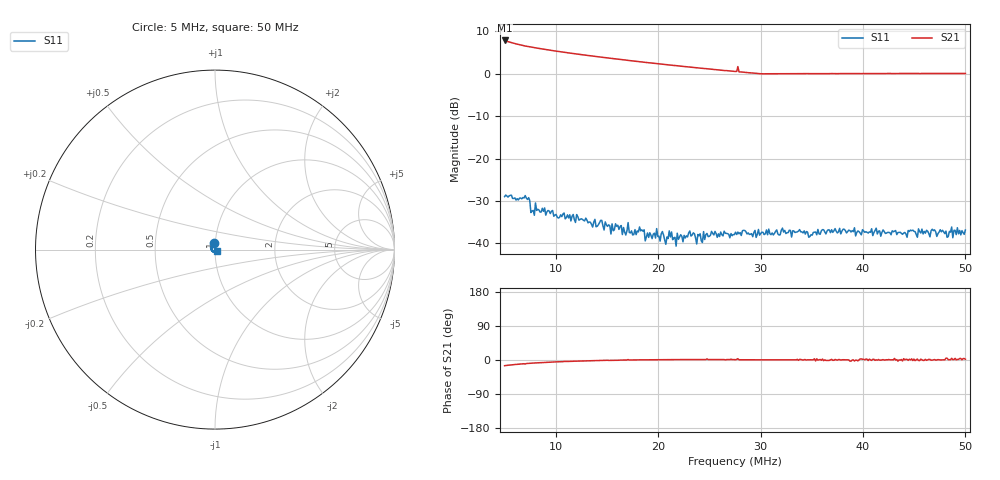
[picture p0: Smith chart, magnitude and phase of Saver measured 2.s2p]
# HZ S RI R 50
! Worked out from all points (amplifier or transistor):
!   404 points, 5 MHz to 50 MHz, reference 50 ohm
!   highest |S21| = 7.9 dB at 5 MHz (marker M1)
!   |S21| within 3 dB of that: start of sweep to 11.42 MHz
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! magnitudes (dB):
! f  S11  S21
! 5 MHz  -29.0  7.9
! 7.233 MHz  -29.7  6.5
! 7.792 MHz  -32.3  6.2
! 12.59 MHz  -34.4  4.5
! 15.05 MHz  -36.0  3.7
! 15.5 MHz  -35.4  3.6
! 16.05 MHz  -35.7  3.4
! 16.72 MHz  -37.4  3.3
! 18.4 MHz  -36.8  2.8
! 18.96 MHz  -37.6  2.6
! 20.07 MHz  -38.3  2.3
! 21.3 MHz  -37.3  2.0
! 21.64 MHz  -38.6  1.9
! 23.2 MHz  -38.3  1.5
! 24.43 MHz  -37.3  1.3
! 25.43 MHz  -38.0  1.0
! 27.56 MHz  -37.4  0.5
! 32.25 MHz  -37.3  0.0
! 35.04 MHz  -38.1  0.0
! 37.94 MHz  -37.2  0.1
! 42.52 MHz  -37.4  0.1
! 50 MHz  -36.9  0.1
